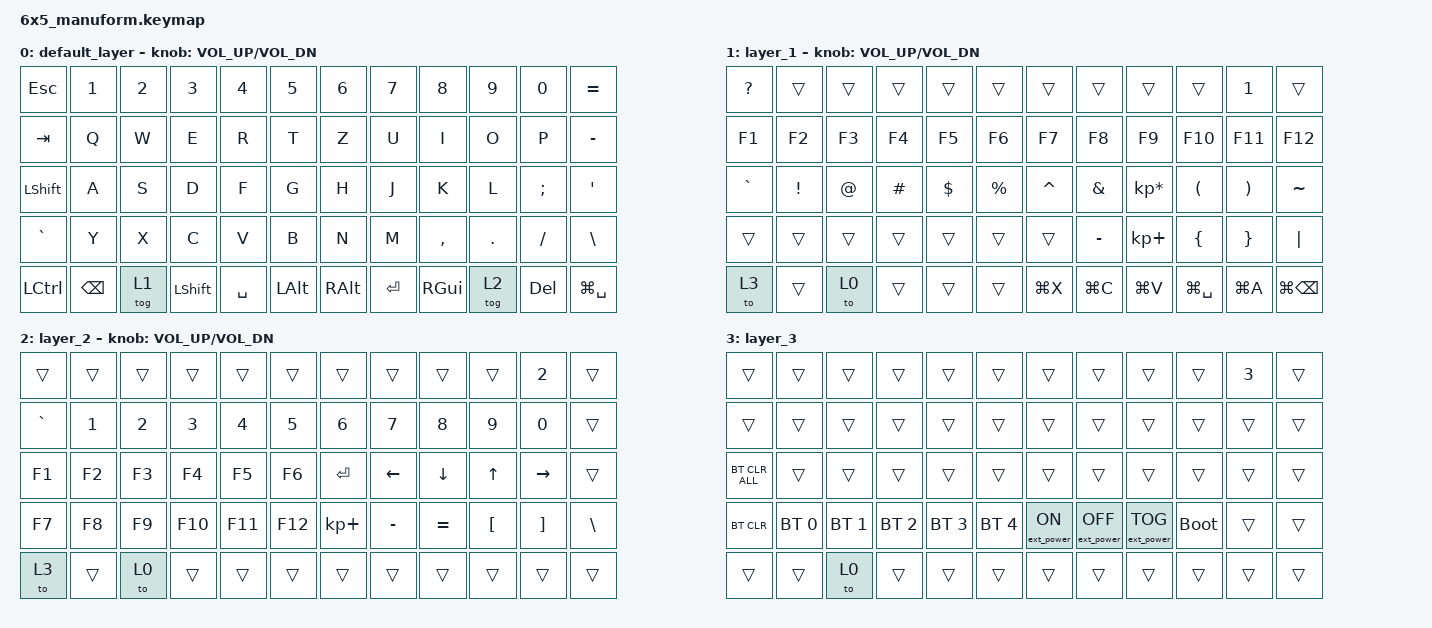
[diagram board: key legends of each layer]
/*
 * Copyright (c) 2020 The ZMK Contributors
 *
 * SPDX-License-Identifier: MIT
 */

#include <behaviors.dtsi>
#include <dt-bindings/zmk/bt.h>
#include <dt-bindings/zmk/ext_power.h>
#include <dt-bindings/zmk/keys.h>

/ {
    keymap {
        compatible = "zmk,keymap";

        default_layer {
            // ------------------------------------------------------------------------------------------------------------
            // |  ESC   |  1  |  2  |  3   |  4   |  5   |                    |  6   |  7    |  8    |  9   |   0   |   `   |
            // |  TAB   |  Q  |  W  |  E   |  R   |  T   |                    |  Y   |  U    |  I    |  O   |   P   |   -   |
            // |  CTRL  |  A  |  S  |  D   |  F   |  G   |                    |  H   |  J    |  K    |  L   |   ;   |   '   |
            // | SHIFT  |  Z  |  X  |  C   |  V   |  B   |                    |  N   |  M    |  ,    |  .   |   /   | SHIFT |
            // |    2   |  2  | f   | 6    | 4    | 1    |                    | 2    | 1     | w     | s    | n     |  a    |

            bindings = <
&kp ESC    &kp N1    &kp N2  &kp N3     &kp N4     &kp N5    &kp N6    &kp N7   &kp N8     &kp N9   &kp N0    &kp EQUAL
&kp TAB    &kp Q     &kp W   &kp E      &kp R      &kp T     &kp Z     &kp U    &kp I      &kp O    &kp P     &kp MINUS
&kp LSHFT  &kp A     &kp S   &kp D      &kp F      &kp G     &kp H     &kp J    &kp K      &kp L    &kp SEMI  &kp SQT
&kp GRAVE  &kp Y     &kp X   &kp C      &kp V      &kp B     &kp N     &kp M    &kp COMMA  &kp DOT  &kp FSLH  &kp BSLH
&kp LCTRL  &kp BSPC  &tog 1  &kp LSHFT  &kp SPACE  &kp LALT  &kp RALT  &kp RET  &kp RGUI   &tog 2   &kp DEL   &kp LG(SPACE)
            >;

            sensor-bindings = <&inc_dec_kp C_VOL_UP C_VOL_DN>;
        };

        layer_1 {
            // ------------------------------------------------------------------------------------------------------------
            // | BTCLR | BT1 | BT2 |  BT3 |  BT4 |  BT5 |                   |      |       |       |      |       |       |
            // |  F1   |  F2 |  F3 |  F4  |  F5  |  F6  |                   |  F7  |  F8   |  F9   |  F10 |  F11  |  F12  |
            // |   `   |  !  |  @  |  #   |  $   |  %   |                   |  ^   |  &    |  *    |  (   |   )   |   ~   |
            // |       |     |     |      |      |      |                   |      |  _    |  +    |  {   |   }   |  "|"  |
            // |       |     |     |      |      |      |                   |      |       |       |      |       |       |

            bindings = <
&kp QUESTION  &trans    &trans  &trans    &trans      &trans     &trans     &trans     &trans           &trans         &kp NUMBER_1  &trans
&kp F1        &kp F2    &kp F3  &kp F4    &kp F5      &kp F6     &kp F7     &kp F8     &kp F9           &kp F10        &kp F11       &kp F12
&kp GRAVE     &kp EXCL  &kp AT  &kp HASH  &kp DOLLAR  &kp PRCNT  &kp CARET  &kp AMPS   &kp KP_MULTIPLY  &kp LPAR       &kp RPAR      &kp TILDE
&trans        &trans    &trans  &trans    &trans      &trans     &trans     &kp MINUS  &kp KP_PLUS      &kp LBRC       &kp RBRC      &kp PIPE
&to 3         &trans    &to 0   &trans    &trans      &trans     &kp LG(X)  &kp LG(C)  &kp LG(V)        &kp LG(SPACE)  &kp LG(A)     &kp LG(BACKSPACE)
            >;

            sensor-bindings = <&inc_dec_kp C_VOL_UP C_VOL_DN>;
        };

        layer_2 {
            // ------------------------------------------------------------------------------------------------------------
            // |       |     |     |      |      |      |                   |      |       |       |      |       |       |
            // |   `   |  1  |  2  |  3   |  4   |  5   |                   |  6   |   7   |   8   |  9   |   0   |       |
            // |   F1  |  F2 |  F3 |  F4  |  F5  |  F6  |                   |      |   <-  |   v   |  ^   |  ->   |       |
            // |   F7  |  F8 |  F9 |  F10 |  F11 |  F12 |		             |  +   |   -   |   =   |  [   |   ]   |   \   |
            // |     |     |      |      |      |        |                   |       |      |       |       |      |       |

            bindings = <
&trans     &trans  &trans  &trans   &trans   &trans   &trans       &trans     &trans     &trans    &kp NUMBER_2  &trans
&kp GRAVE  &kp N1  &kp N2  &kp N3   &kp N4   &kp N5   &kp N6       &kp N7     &kp N8     &kp N9    &kp N0        &trans
&kp F1     &kp F2  &kp F3  &kp F4   &kp F5   &kp F6   &kp RET      &kp LEFT   &kp DOWN   &kp UP    &kp RIGHT     &trans
&kp F7     &kp F8  &kp F9  &kp F10  &kp F11  &kp F12  &kp KP_PLUS  &kp MINUS  &kp EQUAL  &kp LBKT  &kp RBKT      &kp BSLH
&to 3      &trans  &to 0   &trans   &trans   &trans   &trans       &trans     &trans     &trans    &trans        &trans
            >;

            sensor-bindings = <&inc_dec_kp C_VOL_UP C_VOL_DN>;
        };

        layer_3 {
            bindings = <
&trans          &trans        &trans        &trans        &trans        &trans        &trans            &trans             &trans             &trans       &kp NUMBER_3  &trans
&trans          &trans        &trans        &trans        &trans        &trans        &trans            &trans             &trans             &trans       &trans        &trans
&bt BT_CLR_ALL  &trans        &trans        &trans        &trans        &trans        &trans            &trans             &trans             &trans       &trans        &trans
&bt BT_CLR      &bt BT_SEL 0  &bt BT_SEL 1  &bt BT_SEL 2  &bt BT_SEL 3  &bt BT_SEL 4  &ext_power EP_ON  &ext_power EP_OFF  &ext_power EP_TOG  &bootloader  &trans        &trans
&trans          &trans        &to 0         &trans        &trans        &trans        &trans            &trans             &trans             &trans       &trans        &trans
            >;
        };
    };
};
